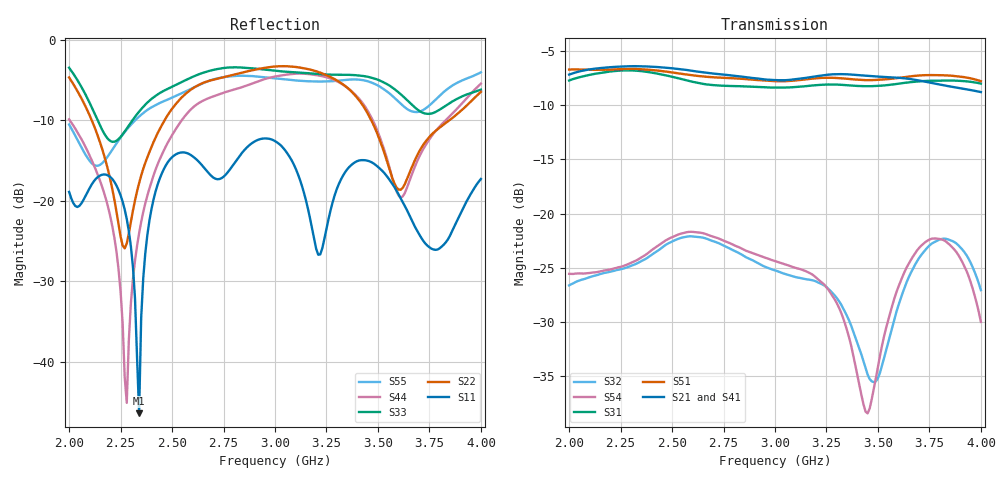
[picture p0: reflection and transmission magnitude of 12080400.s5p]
! Created with skrf 1.8.0 (http://scikit-rf.org).
# Hz S RI R 50.0
!freq ReS11 ImS11 ReS12 ImS12 ReS13 ImS13
! ReS14 ImS14 ReS15 ImS15
! ReS21 ImS21 ReS22 ImS22 ReS23 ImS23
! ReS24 ImS24 ReS25 ImS25
! ReS31 ImS31 ReS32 ImS32 ReS33 ImS33
! ReS34 ImS34 ReS35 ImS35
! ReS41 ImS41 ReS42 ImS42 ReS43 ImS43
! ReS44 ImS44 ReS45 ImS45
! ReS51 ImS51 ReS52 ImS52 ReS53 ImS53
! ReS54 ImS54 ReS55 ImS55
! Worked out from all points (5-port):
!   201 points, 2 GHz to 4 GHz, reference 50 ohm
!   strongest paths, dB at 2 GHz, 2.5 GHz, 3 GHz, 3.5 GHz, 4 GHz:
!     S21: -7.2, -6.6, -7.7, -7.4, -8.8
!     S41: -6.7, -6.5, -7.8, -7.5, -9.1
!     S51: -6.7, -7.0, -7.8, -7.7, -7.8
!     S31: -7.7, -7.4, -8.4, -8.2, -8.0
!     S54: -25.6, -22.2, -24.4, -34.1, -30.0
!     S32: -26.6, -22.6, -25.2, -35.2, -27.1
!   lowest |S11| = -46.4 dB at 2.34 GHz (marker M1), VSWR 1.01, Z = 50.5 + j0.0667 ohm
!   |S11| at or under -10 dB: start of sweep to end of sweep
